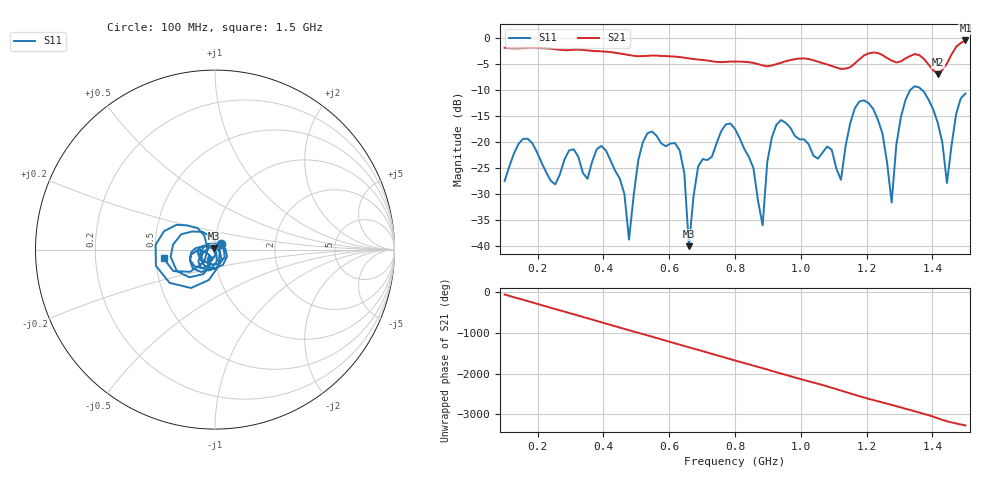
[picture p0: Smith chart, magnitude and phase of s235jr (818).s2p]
! NanoVNA-App
! Date: 2025-09-25 15:10:32
! Start: 100MHz Stop: 1,5GHz Points: 101
! S-Parameter data: F S11 S21 S12 S22
# Hz S RI R 50
!  Frequency  S11_Real  S11_Imag  S21_Real  S21_Imag  S12_Real  S12_Imag  S22_Real  S22_Imag
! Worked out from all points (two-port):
!   101 points, 100 MHz to 1.5 GHz, reference 50 ohm
!   highest |S21| = -0.56 dB at 1.5 GHz (marker M1); lowest = -7.0 dB at 1.416 GHz (marker M2)
!   |S21| within 3 dB of the highest: start of sweep to 503 MHz; 513.4 MHz to 594 MHz (80.62 MHz wide, 14.6 % of centre) (the widest 2 of 5)
!   lowest |S11| = -40.0 dB at 660 MHz (marker M3), VSWR 1.02, Z = 49.2 + j0.606 ohm
!   |S11| at or under -10 dB: start of sweep to 1.333 GHz; 1.367 GHz to end of sweep
!   S12 and S22 are empty: the file has one direction only
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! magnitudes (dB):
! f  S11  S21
! 100 MHz  -27.5  -2.0
! 156 MHz  -19.4  -2.0
! 338 MHz  -26.0  -2.4
! 408 MHz  -21.6  -2.7
! 478 MHz  -38.7  -3.4
! 520 MHz  -20.1  -3.5
! 576 MHz  -20.3  -3.5
! 632 MHz  -21.6  -3.7
! 660 MHz  -40.0  -4.0
! 688 MHz  -24.7  -4.2
! 800 MHz  -17.5  -4.6
! 884 MHz  -36.0  -5.4
! 926 MHz  -16.7  -5.1
! 1.038 GHz  -22.6  -4.4
! 1.122 GHz  -27.3  -6.0
! 1.192 GHz  -12.0  -3.4
! 1.248 GHz  -18.4  -3.4
! 1.276 GHz  -31.6  -4.4
! 1.332 GHz  -10.1  -3.5
! 1.416 GHz  -16.3  -7.0
! 1.444 GHz  -27.9  -5.0
! 1.5 GHz  -10.7  -0.6
